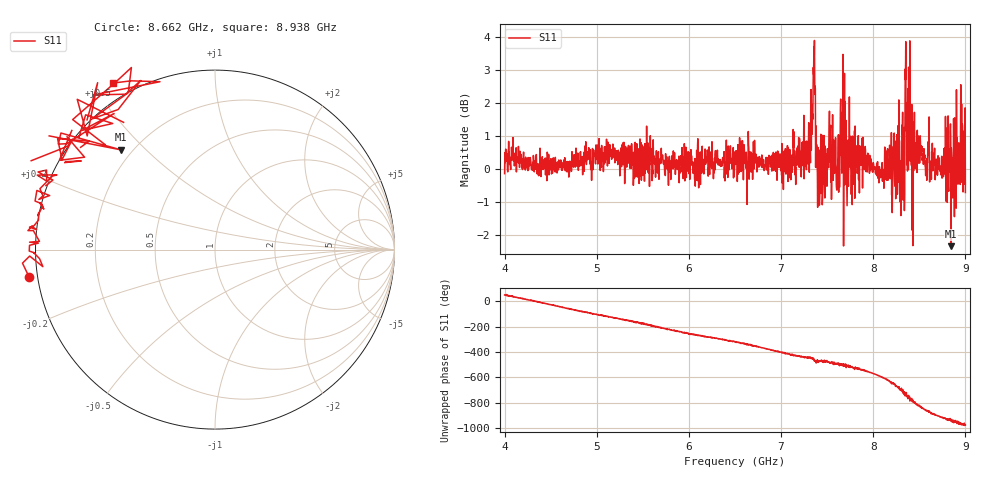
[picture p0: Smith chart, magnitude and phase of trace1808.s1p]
! Created with skrf 1.8.0 (http://scikit-rf.org).
# Hz S RI R 50.0
!freq ReS11 ImS11
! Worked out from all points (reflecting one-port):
!   1601 points, 4 GHz to 9 GHz, reference 50 ohm
!   lowest |S11| = -2.3 dB at 8.844 GHz (marker M1), VSWR 7.50, Z = 7.88 + j21.1 ohm
!   phase of S11 starts at 52 deg and turns -1028 deg over the sweep
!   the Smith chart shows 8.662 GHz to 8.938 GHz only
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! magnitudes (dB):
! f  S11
! 4 GHz  -0.1
! 4.1 GHz  0.4
! 4.625 GHz  0.0
! 5.25 GHz  -0.2
! 5.875 GHz  0.0
! 6.5 GHz  0.3
! 7.125 GHz  0.3
! 7.294 GHz  0.4
! 7.347 GHz  2.4
! 7.369 GHz  2.5
! 7.397 GHz  -1.2
! 7.412 GHz  -0.8
! 7.472 GHz  -0.5
! 7.538 GHz  1.3
! 7.609 GHz  -0.5
! 7.669 GHz  1.4
! 7.703 GHz  1.5
! 7.75 GHz  0.2
! 8.316 GHz  1.1
! 8.334 GHz  1.3
! 8.375 GHz  2.4
! 8.412 GHz  0.2
! 8.447 GHz  1.7
! 8.459 GHz  0.0
! 8.556 GHz  0.3
! 8.844 GHz  -2.3
! 8.972 GHz  0.9
! 9 GHz  -0.7
